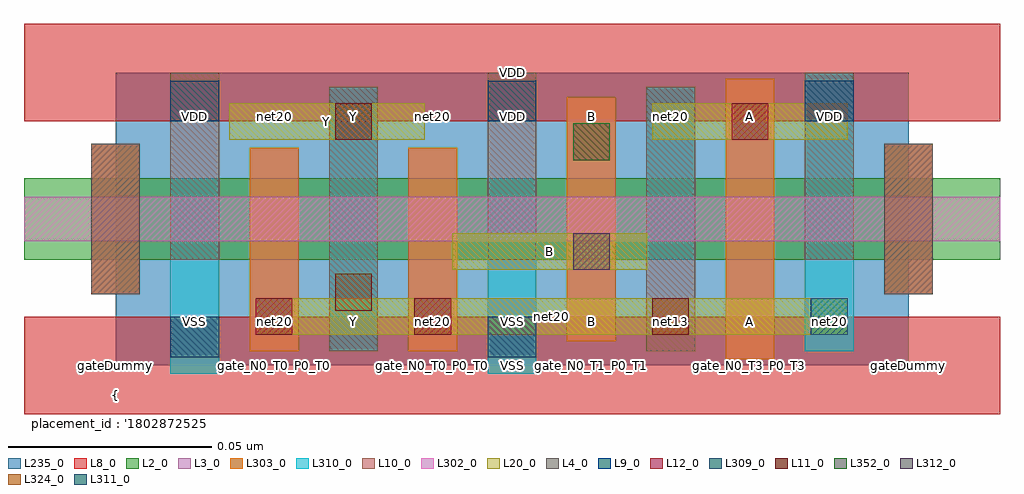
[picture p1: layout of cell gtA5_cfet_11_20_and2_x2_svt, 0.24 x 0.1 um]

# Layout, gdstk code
import gdstk
lib = gdstk.Library(unit=1e-6, precision=2.5e-10)
def R(c, l, rs):  # rectangles x0, y0, x1, y1
    for r in rs: c.add(gdstk.rectangle(r[:2], r[2:], *l))
def A(c, l, x, y, w, h, nx, ny, dx, dy):  # array of equal rectangles
    R(c, l, [(x+i*dx, y+j*dy, x+i*dx+w, y+j*dy+h) for i in range(nx) for j in range(ny)])
L2_0 = (2, 0)
L3_0 = (3, 0)
L4_0 = (4, 0)
L8_0 = (8, 0)
L9_0 = (9, 0)
L10_0 = (10, 0)
L11_0 = (11, 0)
L12_0 = (12, 0)
L20_0 = (20, 0)
L235_0 = (235, 0)
L302_0 = (302, 0)
L303_0 = (303, 0)
L309_0 = (309, 0)
L310_0 = (310, 0)
L311_0 = (311, 0)
L312_0 = (312, 0)
L324_0 = (324, 0)
L352_0 = (352, 0)

gta5_cfet_11_20_and2_x2_ = lib.new_cell('gtA5_cfet_11_20_and2_x2_svt')
R(gta5_cfet_11_20_and2_x2_, L2_0, [(-0.0225,0.026,0.2175,0.046)])
R(gta5_cfet_11_20_and2_x2_, L3_0, [(0.15,0.0015,0.162,0.0705), (0.033,0.0035,0.045,0.0535), (0.072,0.0035,0.084,0.0535), (0.111,0.006,0.123,0.066), (-0.006,0.0175,0.006,0.0545), (0.189,0.0175,0.201,0.0545)])
R(gta5_cfet_11_20_and2_x2_, L4_0, [(-0.006,0.0175,0.006,0.0545), (0.189,0.0175,0.201,0.0545)])
R(gta5_cfet_11_20_and2_x2_, L8_0, [(-0.0225,-0.012,0.2175,0.012), (-0.0225,0.06,0.2175,0.084)])
A(gta5_cfet_11_20_and2_x2_, L9_0, 0.0135, 0.06, 0.012, 0.01, 3, 1, 0.078, 0)
A(gta5_cfet_11_20_and2_x2_, L10_0, 0.0135, 0.026, 0.012, 0.046, 3, 1, 0.078, 0)
R(gta5_cfet_11_20_and2_x2_, L10_0, [(0.0525,0.0035,0.0645,0.0685), (0.1305,0.0035,0.1425,0.0685)])
R(gta5_cfet_11_20_and2_x2_, L11_0, [(0.132,0.0075,0.141,0.0165), (0.054,0.0555,0.063,0.0645)])
R(gta5_cfet_11_20_and2_x2_, L12_0, [(0.0345,0.0075,0.0435,0.0165), (0.0735,0.0075,0.0825,0.0165), (0.1515,0.0555,0.1605,0.0645)])
R(gta5_cfet_11_20_and2_x2_, L20_0, [(0.0345,0.0075,0.18,0.0165), (0.0828,0.0235,0.1308,0.0325), (0.028,0.0555,0.076,0.0645), (0.132,0.0555,0.18,0.0645)])
R(gta5_cfet_11_20_and2_x2_, L235_0, [(0,0,0.195,0.072)])
R(gta5_cfet_11_20_and2_x2_, L302_0, [(-0.0225,0.0305,0.2175,0.0415)])
R(gta5_cfet_11_20_and2_x2_, L303_0, [(0.15,0.0015,0.162,0.0705), (0.033,0.0035,0.045,0.0535), (0.072,0.0035,0.084,0.0535), (0.111,0.006,0.123,0.066), (-0.006,0.0175,0.006,0.0545), (0.189,0.0175,0.201,0.0545)])
R(gta5_cfet_11_20_and2_x2_, L309_0, [(0.0135,0.002,0.0255,0.012), (0.0915,0.002,0.1035,0.012)])
R(gta5_cfet_11_20_and2_x2_, L310_0, [(0.0135,-0.002,0.0255,0.046), (0.0915,-0.002,0.1035,0.046), (0.0525,0.0035,0.0645,0.0685), (0.1695,0.0035,0.1815,0.072), (0.1305,0.026,0.1425,0.0685)])
R(gta5_cfet_11_20_and2_x2_, L311_0, [(0.171,0.0075,0.18,0.0165)])
R(gta5_cfet_11_20_and2_x2_, L312_0, [(0.1125,0.0235,0.1215,0.0325)])
R(gta5_cfet_11_20_and2_x2_, L324_0, [(0.054,0.0135,0.063,0.0225)])
R(gta5_cfet_11_20_and2_x2_, L352_0, [(0.1125,0.0505,0.1215,0.0595)])
gta5_cfet_11_20_and2_x2_.add(gdstk.Label('net20', (0.1072,0.012), layer=100, texttype=100))
gta5_cfet_11_20_and2_x2_.add(gdstk.Label('gateDummy', (0,0), layer=103, texttype=103))
gta5_cfet_11_20_and2_x2_.add(gdstk.Label('sd_N0_VSS_P0_VDD', (0.0195,0), layer=103, texttype=103))
gta5_cfet_11_20_and2_x2_.add(gdstk.Label('gate_N0_T0_P0_T0', (0.039,0), layer=103, texttype=103))
gta5_cfet_11_20_and2_x2_.add(gdstk.Label('sd_N0_T3_P0_T3', (0.0585,0), layer=103, texttype=103))
gta5_cfet_11_20_and2_x2_.add(gdstk.Label('gate_N0_T0_P0_T0', (0.078,0), layer=103, texttype=103))
gta5_cfet_11_20_and2_x2_.add(gdstk.Label('sd_N0_VSS_P0_VDD', (0.0975,0), layer=103, texttype=103))
gta5_cfet_11_20_and2_x2_.add(gdstk.Label('gate_N0_T1_P0_T1', (0.117,0), layer=103, texttype=103))
gta5_cfet_11_20_and2_x2_.add(gdstk.Label('sd_N0_abut_P0_T0', (0.1365,0), layer=103, texttype=103))
gta5_cfet_11_20_and2_x2_.add(gdstk.Label('gate_N0_T3_P0_T3', (0.156,0), layer=103, texttype=103))
gta5_cfet_11_20_and2_x2_.add(gdstk.Label('sd_N0_T0_P0_VDD', (0.1755,0), layer=103, texttype=103))
gta5_cfet_11_20_and2_x2_.add(gdstk.Label('gateDummy', (0.195,0), layer=103, texttype=103))
gta5_cfet_11_20_and2_x2_.add(gdstk.Label('}', (0,-0.0785), layer=104, texttype=104))
gta5_cfet_11_20_and2_x2_.add(gdstk.Label('  power : None', (0,-0.0713), layer=104, texttype=104))
gta5_cfet_11_20_and2_x2_.add(gdstk.Label('  performance : None', (0,-0.0643), layer=104, texttype=104))
gta5_cfet_11_20_and2_x2_.add(gdstk.Label("  solution_hash : '17045036257642165524'", (0,-0.057), layer=104, texttype=104))
gta5_cfet_11_20_and2_x2_.add(gdstk.Label('  number_m2 : 0', (0,-0.05), layer=104, texttype=104))
gta5_cfet_11_20_and2_x2_.add(gdstk.Label('  number_m1 : 0', (0,-0.0428), layer=104, texttype=104))
gta5_cfet_11_20_and2_x2_.add(gdstk.Label('  number_m0cuts : 0', (0,-0.0358), layer=104, texttype=104))
gta5_cfet_11_20_and2_x2_.add(gdstk.Label('  number_m0 : 4', (0,-0.0285), layer=104, texttype=104))
gta5_cfet_11_20_and2_x2_.add(gdstk.Label("  solution_number : '0000'", (0,-0.0215), layer=104, texttype=104))
gta5_cfet_11_20_and2_x2_.add(gdstk.Label("  placement_id : '18028725256931618539'", (0,-0.0143), layer=104, texttype=104))
gta5_cfet_11_20_and2_x2_.add(gdstk.Label('{', (0,-0.0073), layer=104, texttype=104))
gta5_cfet_11_20_and2_x2_.add(gdstk.Label('VSS', (0.0195,0.0108), layer=105, texttype=105))
gta5_cfet_11_20_and2_x2_.add(gdstk.Label('net20', (0.039,0.0108), layer=105, texttype=105))
gta5_cfet_11_20_and2_x2_.add(gdstk.Label('Y', (0.0585,0.0108), layer=105, texttype=105))
gta5_cfet_11_20_and2_x2_.add(gdstk.Label('net20', (0.078,0.0108), layer=105, texttype=105))
gta5_cfet_11_20_and2_x2_.add(gdstk.Label('VSS', (0.0975,0.0108), layer=105, texttype=105))
gta5_cfet_11_20_and2_x2_.add(gdstk.Label('B', (0.117,0.0108), layer=105, texttype=105))
gta5_cfet_11_20_and2_x2_.add(gdstk.Label('net13', (0.1365,0.0108), layer=105, texttype=105))
gta5_cfet_11_20_and2_x2_.add(gdstk.Label('A', (0.156,0.0108), layer=105, texttype=105))
gta5_cfet_11_20_and2_x2_.add(gdstk.Label('net20', (0.1755,0.0108), layer=105, texttype=105))
gta5_cfet_11_20_and2_x2_.add(gdstk.Label('VDD', (0.0195,0.0612), layer=105, texttype=105))
gta5_cfet_11_20_and2_x2_.add(gdstk.Label('net20', (0.039,0.0612), layer=105, texttype=105))
gta5_cfet_11_20_and2_x2_.add(gdstk.Label('Y', (0.0585,0.0612), layer=105, texttype=105))
gta5_cfet_11_20_and2_x2_.add(gdstk.Label('net20', (0.078,0.0612), layer=105, texttype=105))
gta5_cfet_11_20_and2_x2_.add(gdstk.Label('VDD', (0.0975,0.0612), layer=105, texttype=105))
gta5_cfet_11_20_and2_x2_.add(gdstk.Label('B', (0.117,0.0612), layer=105, texttype=105))
gta5_cfet_11_20_and2_x2_.add(gdstk.Label('net20', (0.1365,0.0612), layer=105, texttype=105))
gta5_cfet_11_20_and2_x2_.add(gdstk.Label('A', (0.156,0.0612), layer=105, texttype=105))
gta5_cfet_11_20_and2_x2_.add(gdstk.Label('VDD', (0.1755,0.0612), layer=105, texttype=105))
gta5_cfet_11_20_and2_x2_.add(gdstk.Label('VSS', (0.0975,0), layer=8, texttype=0))
gta5_cfet_11_20_and2_x2_.add(gdstk.Label('VDD', (0.0975,0.072), layer=8, texttype=0))
gta5_cfet_11_20_and2_x2_.add(gdstk.Label('B', (0.1067,0.028), layer=20, texttype=251))
gta5_cfet_11_20_and2_x2_.add(gdstk.Label('Y', (0.052,0.06), layer=20, texttype=251))
gta5_cfet_11_20_and2_x2_.add(gdstk.Label('A', (0.156,0.06), layer=20, texttype=251))
gta5_cfet_11_20_and2_x2_.add(gdstk.Label('gtA5_cfet_11_20_and2_x2_rvt_0', (0,0), layer=235, texttype=0))

lib.write_gds('gtA5_cfet_11_20_and2_x2_svt.gds')
